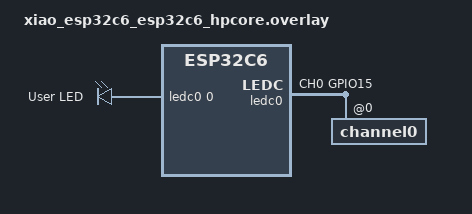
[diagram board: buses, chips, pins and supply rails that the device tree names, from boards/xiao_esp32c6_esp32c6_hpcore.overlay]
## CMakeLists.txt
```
# SPDX-License-Identifier: Apache-2.0
#
# XIAO ESP32-C6 BLE Web App. Out-of-tree Zephyr application
# (no west workspace, no sysbuild, no MCUboot: Espressif simple boot).

cmake_minimum_required(VERSION 3.20.0)

find_package(Zephyr REQUIRED HINTS $ENV{ZEPHYR_BASE})
project(c6_ble_led)

target_include_directories(app PRIVATE src)
target_sources(app PRIVATE
  src/main.c
  src/reset_reason.c
  src/duty_readback.c
  src/user_led.c
  src/selftest.c
  src/brightness.c
  src/watchdog.c
  src/heartbeat.c
  src/heartbeat_link.c
  src/ble.c
  src/led_command.c
  src/led_shell.c
  src/link_filter.c
  src/nus_chunk.c
  src/shell_nus.c
)
target_sources_ifdef(CONFIG_C6_HANG_CMD app PRIVATE src/debug_hang.c)
target_sources_ifdef(CONFIG_C6_HEAP_REPORT app PRIVATE src/debug_heap.c)
```

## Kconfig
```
# SPDX-License-Identifier: Apache-2.0

mainmenu "XIAO ESP32-C6 BLE Web App"

config C6_BOOT_MARKER_DELAY_MS
	int "Delay before the first Marker, ms"
	default 2000
	help
	  The USB-Serial/JTAG console drops bytes while no host reads the port,
	  and a host that resets the board needs a moment to (re)open it. The
	  firmware waits this long before printing "[BOOT] reason=" so a capture
	  started right after a reset or a flash sees the first Marker.

config C6_HANG_CMD
	bool "Debug: the debug hang serial-shell command"
	default n
	depends on SHELL
	help
	  Adds "debug hang" (src/debug_hang.c): the main loop stops feeding
	  the watchdog, so the board must reset within the watchdog window and
	  the next boot report "[BOOT] reason=watchdog". Enabled by debug.conf
	  in a separate build directory; never in the production image.

config C6_HEAP_REPORT
	bool "Debug: print the kernel heap statistics every 5 s"
	default n
	select SYS_HEAP_RUNTIME_STATS
	help
	  Adds src/debug_heap.c. Enabled by analyze.conf (with the thread
	  analyzer) in a build directory of its own; never in the production
	  image.

source "Kconfig.zephyr"
```

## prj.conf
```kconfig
# Production configuration. Every value raised from its default carries a
# one-line reason.

# Console and Markers
CONFIG_PRINTK=y
# Markers are printed with printk: synchronous, unlike the deferred log path
CONFIG_CONSOLE=y
CONFIG_UART_CONSOLE=y
CONFIG_BOOT_BANNER=n
# the Zephyr boot banner is noise before the [BOOT] marker

# Reset reason
CONFIG_HWINFO=y

# Drivers used by the Self-test and the User LED
CONFIG_PWM=y
CONFIG_GPIO=y

# Diagnostics other than Markers go through the log subsystem
CONFIG_LOG=y
CONFIG_LOG_PRINTK=n
# default y routes printk into the deferred log thread: Markers must stay synchronous

# Watchdog: one task-watchdog channel (5 s), hardware watchdog as fallback
CONFIG_WATCHDOG=y
CONFIG_TASK_WDT=y
CONFIG_TASK_WDT_HW_FALLBACK=y
CONFIG_TASK_WDT_CHANNELS=2
# default 5; one channel is used (spec), 2 is the Kconfig range minimum
# CONFIG_TASK_WDT_MIN_TIMEOUT stays at its default 100 ms: the task watchdog's own
# timer feeds the hardware watchdog every 100 ms and the hardware window is that
# plus 20 ms, so an interrupts-off stretch or timer stall over about 120 ms resets
# the board (the 5 s window only governs the main loop's feed)
CONFIG_REBOOT=y
# already selected by TASK_WDT; explicit because the expiry callback calls sys_reboot()

# Bluetooth: peripheral only, one Connection, NUS service (ticket 06)
CONFIG_BT=y
CONFIG_BT_PERIPHERAL=y
CONFIG_BT_MAX_CONN=1
# spec: one Connection, so two pages never fight over the User LED
CONFIG_BT_ZEPHYR_NUS=y
# the Shell link (ADR-0001) rides on the upstream Nordic UART Service
CONFIG_BT_DEVICE_NAME="XIAO-C6-LED"
# the Web App and the Harness find the board by this name; ble.c prints the same string
CONFIG_BT_L2CAP_TX_MTU=247
CONFIG_BT_BUF_ACL_RX_SIZE=251
CONFIG_BT_BUF_ACL_TX_SIZE=251
# ATT MTU 247 (spec): L2CAP MTU 247 plus the 4-byte L2CAP header in each ACL buffer;
# defaults are 23 and 27

# Stack headroom with Bluetooth running (measured with the thread analyzer, see board-notes):
CONFIG_MAIN_STACK_SIZE=3072
# default 2048; bt_enable() runs on the main thread and peaked at 1632 bytes
CONFIG_LOG_PROCESS_THREAD_STACK_SIZE=2048
# default 768; the log thread peaked at 724 with the Bluetooth stack logging (94 %)

# Shells (ticket 07): the serial console shell and the Shell link's own instance (src/shell_nus.c)
CONFIG_SHELL=y
CONFIG_SHELL_BACKEND_SERIAL=y
CONFIG_SHELL_LOG_BACKEND=n
# neither shell is a log backend: diagnostics stay on the UART log backend, so Markers and
# <wrn>/<err> lines reach the console independently of a shell and never enter the Shell link
CONFIG_LOG_BACKEND_UART=y
CONFIG_SHELL_MSG_CMD_NOT_FOUND=y
# an unknown command prints "<cmd>: command not found" instead of nothing, so a typo on the
# serial shell is visible (default n once SHELL_BACKEND_SERIAL is set)
# Each shell instance runs a thread with the default CONFIG_SHELL_STACK_SIZE=2048; measured with
# the thread analyzer: shell_nus peaked at 1344 (65 %), shell_uart at 612 (29 %), see board-notes.
```

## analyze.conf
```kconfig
# Stack and heap headroom scenario (ticket 06). Merged with
#   C6_BUILD_DIR=build-analyze C6_EXTRA_CONF=analyze.conf ./build.sh build|flash
# in a build directory of its own, so the production build never carries it. The thread
# analyzer prints every thread's stack use to the console; debug_heap.c prints the kernel heap.
CONFIG_THREAD_ANALYZER=y
CONFIG_THREAD_ANALYZER_USE_PRINTK=y
CONFIG_THREAD_ANALYZER_AUTO=y
CONFIG_THREAD_ANALYZER_AUTO_INTERVAL=5
CONFIG_THREAD_NAME=y
# the analyzer prints thread names only with this
CONFIG_C6_HEAP_REPORT=y
```

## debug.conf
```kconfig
# Debug overlay (never part of the production image). Merged with
#   C6_BUILD_DIR=<dir> C6_EXTRA_CONF=debug.conf ./build.sh build|flash
# in a build directory of its own, so the production build never carries it.

# The serial shell carries the debug command. Production has the console shell since
# ticket 07 (prj.conf); these lines stay as harmless duplicates.
CONFIG_SHELL=y
CONFIG_SHELL_BACKEND_SERIAL=y
CONFIG_SHELL_LOG_BACKEND=n
# keep diagnostics on the UART log backend so Markers and <wrn>/<err> lines
# reach the console independently of the shell
CONFIG_LOG_BACKEND_UART=y

# "debug hang": the main loop stops feeding the watchdog (ticket 04)
CONFIG_C6_HANG_CMD=y
```

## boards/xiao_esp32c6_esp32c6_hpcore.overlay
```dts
/*
 * SPDX-License-Identifier: Apache-2.0
 *
 * User LED on GPIO15 driven by LEDC channel 0 / timer 0 at 20 kHz.
 * The LED is wired active-low: the polarity is declared here, not in C.
 * The pad keeps its input buffer enabled so the firmware can read the
 * level it actually drives (Duty readback).
 */

#include <zephyr/dt-bindings/pwm/pwm.h>

/ {
	aliases {
		user-led-pwm = &user_led_pwm;
	};

	pwmleds {
		compatible = "pwm-leds";

		user_led_pwm: user_led_pwm {
			pwms = <&ledc0 0 PWM_HZ(20000) PWM_POLARITY_INVERTED>;
			label = "User LED";
		};
	};
};

&pinctrl {
	ledc0_default: ledc0_default {
		group1 {
			pinmux = <LEDC_CH0_GPIO15>;
			/* Output is enabled by the LEDC signal itself. input-enable
			 * keeps pinctrl from disabling the pad's input buffer; the
			 * firmware turns it on through the GPIO driver (user_led.c).
			 */
			input-enable;
		};
	};
};

&ledc0 {
	pinctrl-0 = <&ledc0_default>;
	pinctrl-names = "default";
	status = "okay";
	#address-cells = <1>;
	#size-cells = <0>;

	channel0@0 {
		reg = <0x0>;
		timer = <0>;
	};
};
```

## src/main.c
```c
/* SPDX-License-Identifier: Apache-2.0 */
/*
 * Boot order (spec): Reset reason marker -> Self-test (a failure is
 * reported, not retried, the boot continues) -> Brightness 128 -> watchdog
 * armed -> Shell link started -> Bluetooth enabled and advertising. The main loop then feeds the
 * watchdog and emits the Heartbeats.
 */

#include <zephyr/kernel.h>
#include <zephyr/sys/printk.h>

#include "ble.h"
#include "brightness.h"
#include "debug_hang.h"
#include "heartbeat.h"
#include "heartbeat_link.h"
#include "reset_reason.h"
#include "selftest.h"
#include "shell_nus.h"
#include "user_led.h"
#include "watchdog.h"

int main(void)
{
	/* The USB-Serial/JTAG console drops bytes while nobody reads it: give
	 * the host time to (re)open the port after the reset.
	 */
	k_msleep(CONFIG_C6_BOOT_MARKER_DELAY_MS);
	/* Leading newline: keeps the marker on its own line if anything left a
	 * prompt or partial line on the console.
	 */
	printk("\n[BOOT] reason=%s\n", reset_reason_string());

	printk("[STAGE] selftest: start\n");
	/* If the PWM or pad is not ready, user_led_init() logs why and the
	 * Self-test then fails at step 0: reported, boot continues.
	 */
	(void)user_led_init();
	(void)selftest_run();

	/* A failure is logged inside; no [LED] marker then, which the Harness reports. */
	(void)brightness_set(BRIGHTNESS_BOOT);

	/* Armed last: the Self-test sweep runs before it, so its length never counts
	 * against the window. A failure is logged inside; the board then runs unguarded.
	 */
	(void)watchdog_arm();

	/* The Shell link's shell thread before Bluetooth, so a command written by the first Central
	 * finds it running. A failure is reported inside; the serial shell still works.
	 */
	(void)shell_nus_start();

	/* Bluetooth after the watchdog (spec boot order). A failure is reported inside; the
	 * board then runs without a radio.
	 */
	(void)ble_start();

	/* The main loop is the only feeder (spec) and the one that emits Heartbeats. It sleeps until
	 * the next Heartbeat is due, never longer than one period (1 s) against the 5 s window; the
	 * Harness expects a bite 4 to 5 s after the hang, so nothing here may wait for anything
	 * else: the Heartbeat line is only queued for the sender thread (heartbeat_link.c), which is
	 * the one that can block on a stalled link.
	 */
	struct heartbeat hb;
	uint32_t dropped_total = 0;

	heartbeat_boot(&hb, (uint64_t)k_uptime_get());
	while (1) {
		uint64_t now = (uint64_t)k_uptime_get();
		uint32_t seq;

		if (debug_hang_requested()) {
			/* Debug image only: stop feeding for good; the watchdog must reset the board.
			 * Leading newline: the shell prompt may be on the line.
			 */
			printk("\n[DBG] hang: main loop stops feeding\n");
			k_sleep(K_FOREVER);
		}
		/* seq counts from boot whether or not a Central listens; the sender drops the line
		 * when nobody is subscribed.
		 */
		if (heartbeat_due(&hb, now, &seq)) {
			int dropped = heartbeat_link_post(seq);

			if (dropped > 0) {
				dropped_total += (uint32_t)dropped;
				/* a stalled link drops one a second: report the 1st, 2nd, 4th, 8th ... */
				if ((dropped_total & (dropped_total - 1U)) == 0U) {
					printk("\n[HB] link stalled: %u stale heartbeat(s) dropped\n",
					       dropped_total);
				}
			}
			if (heartbeat_marker_due(seq)) {
				printk("\n[HB] seq=%u\n", seq);
			}
		}
		watchdog_feed();
		k_msleep(MAX(1U, MIN(heartbeat_wait_ms(&hb, (uint64_t)k_uptime_get()),
				     HEARTBEAT_PERIOD_MS)));
	}
	return 0;
}
```

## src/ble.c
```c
/* SPDX-License-Identifier: Apache-2.0 */

#include "ble.h"

#include <zephyr/bluetooth/bluetooth.h>
#include <zephyr/bluetooth/conn.h>
#include <zephyr/bluetooth/gatt.h>
#include <zephyr/bluetooth/services/nus.h>
#include <zephyr/kernel.h>
#include <zephyr/logging/log.h>
#include <zephyr/sys/printk.h>

LOG_MODULE_REGISTER(ble, LOG_LEVEL_INF);

#define DEVICE_NAME     CONFIG_BT_DEVICE_NAME
#define DEVICE_NAME_LEN (sizeof(DEVICE_NAME) - 1)

/* The name goes in the advertising data, the 128-bit NUS UUID in the scan response
 * (both together do not fit the 31 bytes of one PDU). A Central that scans actively
 * (the Harness, Chrome) sees both.
 */
static const struct bt_data ad[] = {
	BT_DATA_BYTES(BT_DATA_FLAGS, (BT_LE_AD_GENERAL | BT_LE_AD_NO_BREDR)),
	BT_DATA(BT_DATA_NAME_COMPLETE, DEVICE_NAME, DEVICE_NAME_LEN),
};

static const struct bt_data sd[] = {
	BT_DATA_BYTES(BT_DATA_UUID128_ALL, BT_UUID_NUS_SRV_VAL),
};

/* A failed bt_le_adv_start() after a connection object was allocated makes the stack drop that
 * object, which fires "recycled" again and so calls advertise() again: a persistent failure would
 * loop without end on the system workqueue. Give up after this many failures in a row.
 */
#define ADV_FAILURES_MAX 5

static int adv_failures;

static int advertise(void)
{
	int err = bt_le_adv_start(BT_LE_ADV_CONN_FAST_1, ad, ARRAY_SIZE(ad), sd, ARRAY_SIZE(sd));

	if (err) {
		adv_failures++;
		LOG_ERR("advertising failed to start (err %d, %d in a row)", err, adv_failures);
		printk("\n[BLE] advertising failed err=%d\n", err);
		return err;
	}
	adv_failures = 0;
	printk("\n[BLE] advertising name=%s\n", DEVICE_NAME);
	return 0;
}

/* Ask the Central for a 4 s supervision timeout (interval 30 to 50 ms, no latency): BlueZ's
 * default is 420 ms, which a PC adapter that scans while connected can miss. For a peripheral the
 * call only stores the request; the stack sends it after CONFIG_BT_CONN_PARAM_UPDATE_TIMEOUT
 * (5 s) and the Central may refuse it, so the log in on_params_updated() shows what took effect.
 */
static const struct bt_le_conn_param conn_params = BT_LE_CONN_PARAM_INIT(24, 40, 0, 400);

static void on_connected(struct bt_conn *conn, uint8_t err)
{
	if (err) {
		/* No Connection exists; the stack recycles the object, which restarts advertising. */
		LOG_WRN("connection failed (HCI err 0x%02x)", err);
		return;
	}
	printk("\n[BLE] connected\n");

	err = bt_conn_le_param_update(conn, &conn_params);
	if (err) {
		LOG_WRN("connection parameter request rejected (err %d)", err);
	}
}

static void on_disconnected(struct bt_conn *conn, uint8_t reason)
{
	ARG_UNUSED(conn);

	printk("\n[BLE] disconnected reason=0x%02x\n", reason);
}

/* Advertising restarts here, not in on_disconnected(): with CONFIG_BT_MAX_CONN=1 the
 * connection object is still in use there and bt_le_adv_start() would fail with -ENOMEM.
 * "Recycled" fires once it is free again, also after a connection that failed to open.
 */
static void on_recycled(void)
{
	if (adv_failures >= ADV_FAILURES_MAX) {
		return;
	}
	(void)advertise();
}

static void on_params_updated(struct bt_conn *conn, uint16_t interval, uint16_t latency,
			      uint16_t timeout)
{
	ARG_UNUSED(conn);

	/* Units: interval 1.25 ms, timeout 10 ms. Diagnostics only, not a Marker. */
	LOG_INF("connection parameters: interval=%u latency=%u timeout=%u", interval, latency,
		timeout);
}

BT_CONN_CB_DEFINE(conn_cbs) = {
	.le_param_updated = on_params_updated,
	.connected = on_connected,
	.disconnected = on_disconnected,
	.recycled = on_recycled,
};

static void on_mtu_updated(struct bt_conn *conn, uint16_t tx, uint16_t rx)
{
	ARG_UNUSED(conn);

	/* The ATT MTU in force is the smaller of the two directions (equal after an exchange). */
	printk("\n[BLE] mtu=%u\n", MIN(tx, rx));
}

static struct bt_gatt_cb gatt_cbs = {
	.att_mtu_updated = on_mtu_updated,
};

int ble_start(void)
{
	int err;

	bt_gatt_cb_register(&gatt_cbs);
	err = bt_enable(NULL);
	if (err) {
		LOG_ERR("bluetooth enable failed (err %d)", err);
		printk("\n[BLE] start failed err=%d\n", err);
		return err;
	}
	return advertise();
}
```

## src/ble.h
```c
/* SPDX-License-Identifier: Apache-2.0 */
#ifndef BLE_H
#define BLE_H

/*
 * Bluetooth peripheral: enables the stack, advertises as CONFIG_BT_DEVICE_NAME with the
 * Nordic UART Service UUID, accepts one Connection, stops advertising while it exists and
 * advertises again once it has ended. Markers (spec, grepped by the Harness):
 *
 *   [BLE] advertising name=<name>     advertising started (boot, and after every Connection)
 *   [BLE] advertising failed err=<n>  bt_le_adv_start() failed (retried after a Connection ends,
 *                                     at most 5 failures in a row)
 *   [BLE] start failed err=<n>        bt_enable() failed
 *   [BLE] connected                   a Connection was established
 *   [BLE] mtu=<n>                     the ATT MTU changed (negotiated by the Central)
 *   [BLE] disconnected reason=0x<rr>  the Connection ended (HCI reason)
 */

/* Call once, after the watchdog is armed. 0, or the error of bt_enable() / the first
 * bt_le_adv_start() with the reason logged and a marker; the board then runs without Bluetooth.
 */
int ble_start(void);

#endif /* BLE_H */
```

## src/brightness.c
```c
/* SPDX-License-Identifier: Apache-2.0 */

#include "brightness.h"
#include "user_led.h"

#include <zephyr/kernel.h>
#include <zephyr/logging/log.h>
#include <zephyr/sys/atomic.h>

LOG_MODULE_REGISTER(brightness, CONFIG_LOG_DEFAULT_LEVEL);

static atomic_t current; /* 0 until the first brightness_set() */

/* set, settle, readback and the remembered value are one step: a second
 * caller (the shell thread, later) must not run its readback over the
 * shared sample buffer or interleave its set. Held for about 5 ms.
 */
static K_MUTEX_DEFINE(apply_lock);
#define APPLY_LOCK_WAIT K_MSEC(500)

int brightness_set(uint8_t brightness)
{
	struct duty_readback rb;
	int ret;

	ret = k_mutex_lock(&apply_lock, APPLY_LOCK_WAIT);
	if (ret < 0) {
		LOG_ERR("brightness %u: apply lock busy: %d", brightness, ret);
		return ret;
	}

	ret = user_led_set(brightness);
	if (ret < 0) {
		LOG_ERR("user_led_set(%u): %d", brightness, ret);
		k_mutex_unlock(&apply_lock);
		return ret;
	}

	/* The readback samples the pad for ~2 ms in this thread: short enough
	 * for the watchdog window (5 s) and the Heartbeat cadence (1 s).
	 */
	k_msleep(USER_LED_SETTLE_MS);
	ret = user_led_readback(&rb);
	if (ret < 0) {
		LOG_WRN("readback after brightness %u: %d", brightness, ret);
	}
	user_led_print_marker(brightness, &rb);

	atomic_set(&current, brightness);
	k_mutex_unlock(&apply_lock);
	return 0;
}

uint8_t brightness_get(void)
{
	return (uint8_t)atomic_get(&current);
}
```

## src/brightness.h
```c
/* SPDX-License-Identifier: Apache-2.0 */
#ifndef BRIGHTNESS_H
#define BRIGHTNESS_H

#include <stdint.h>

/*
 * Brightness (glue): the User LED level 0..255, 128 at boot after the
 * Self-test, kept in RAM only (never persisted, unchanged by a disconnect).
 *
 * brightness_set() applies a value to the User LED immediately with no ramp,
 * takes the Duty readback and prints the Serial marker
 * "[LED] brightness=<n> duty=<pct>% freq=<hz>". Every applied Brightness
 * goes through it. Returns 0, or -errno when the LED could not be driven
 * (the remembered Brightness is then unchanged and no marker is printed).
 * A failed readback still applies the value and prints the marker.
 */
int brightness_set(uint8_t brightness);

/* The Brightness last applied by brightness_set(); 0 until the first call. */
uint8_t brightness_get(void);

/* Level the boot ends at (spec: Brightness rules). */
#define BRIGHTNESS_BOOT 128

#endif /* BRIGHTNESS_H */
```

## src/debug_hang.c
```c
/* SPDX-License-Identifier: Apache-2.0 */

#include "debug_hang.h"

#include <zephyr/kernel.h>
#include <zephyr/sys/printk.h>
#include <zephyr/shell/shell.h>
#include <zephyr/sys/atomic.h>

static atomic_t requested;

bool debug_hang_requested(void)
{
	return atomic_get(&requested) != 0;
}

static int cmd_hang(const struct shell *sh, size_t argc, char **argv)
{
	ARG_UNUSED(argc);
	ARG_UNUSED(argv);

	atomic_set(&requested, 1);
	shell_print(sh, "hang requested: the main loop stops feeding at its next period");
	return 0;
}

static atomic_t stall_requested;

/* Called by the Heartbeat sender thread with a line in hand, before it sends. */
void debug_hb_stall_point(void)
{
	if (atomic_get(&stall_requested) != 0) {
		printk("\n[DBG] stall: heartbeat sender stops\n");
		k_sleep(K_FOREVER);
	}
}

static int cmd_stall(const struct shell *sh, size_t argc, char **argv)
{
	ARG_UNUSED(argc);
	ARG_UNUSED(argv);

	atomic_set(&stall_requested, 1);
	shell_print(sh, "stall requested: the Heartbeat sender stops at its next line");
	return 0;
}

SHELL_STATIC_SUBCMD_SET_CREATE(debug_cmds,
	SHELL_CMD_ARG(hang, NULL, "Stop the main loop feeding the watchdog (debug image only)",
		      cmd_hang, 1, 0),
	SHELL_CMD_ARG(stall, NULL, "Stop the Heartbeat sender thread (debug image only)",
		      cmd_stall, 1, 0),
	SHELL_SUBCMD_SET_END);
SHELL_CMD_REGISTER(debug, &debug_cmds, "Debug-only commands", NULL);
```

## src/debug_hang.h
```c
/* SPDX-License-Identifier: Apache-2.0 */
#ifndef DEBUG_HANG_H
#define DEBUG_HANG_H

#include <stdbool.h>
#include <zephyr/sys/util.h>

/*
 * Debug-only watchdog bite proof (CONFIG_C6_HANG_CMD, enabled by debug.conf,
 * never in the production image). The serial-shell command "debug hang" sets
 * a request; the main loop polls it once per period and, when set, stops
 * feeding the watchdog for good, so the board must reset within the window.
 * In the production image the request is a constant false and the compiler
 * removes the branch.
 */
#ifdef CONFIG_C6_HANG_CMD
bool debug_hang_requested(void);
#else
static inline bool debug_hang_requested(void)
{
	return false;
}
#endif

/*
 * Debug-only Heartbeat stall proof (same option, ticket 09). "debug stall" makes the Heartbeat
 * sender thread stop for good inside shell_nus_notify(), holding the TX lock as a bt_nus_send()
 * stuck on a stalled link would; the main loop must then keep feeding the watchdog and printing "[HB] seq=N". In the
 * production image the stall point is empty.
 */
#ifdef CONFIG_C6_HANG_CMD
void debug_hb_stall_point(void);
#else
static inline void debug_hb_stall_point(void)
{
}
#endif

#endif /* DEBUG_HANG_H */
```

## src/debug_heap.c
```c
/* SPDX-License-Identifier: Apache-2.0 */

/*
 * Debug-only heap report (CONFIG_C6_HEAP_REPORT, enabled by analyze.conf in a build directory of
 * its own, never in the production image): every few seconds it prints the kernel heap (the pool
 * the Bluetooth driver allocates from) as "[DBG] heap ...", next to the thread analyzer's stack
 * report, so the headroom with Bluetooth running can be read from the console.
 */

#include <zephyr/kernel.h>
#include <zephyr/sys/printk.h>
#include <zephyr/sys/sys_heap.h>

#define REPORT_PERIOD_MS 5000

/* Private kernel symbol (kernel/mempool.c, no public header): re-check it when Zephyr is bumped.
 * Acceptable here because this file is debug-only.
 */
extern struct k_heap _system_heap;

static void report(struct k_work *work);
static K_WORK_DELAYABLE_DEFINE(report_work, report);

static void report(struct k_work *work)
{
	struct sys_memory_stats stats;

	ARG_UNUSED(work);
	if (sys_heap_runtime_stats_get(&_system_heap.heap, &stats) == 0) {
		/* size = free + allocated: the usable heap, not the requested K_HEAP_MEM_POOL_SIZE */
		printk("\n[DBG] heap size=%zu free=%zu allocated=%zu max_allocated=%zu\n",
		       stats.free_bytes + stats.allocated_bytes, stats.free_bytes,
		       stats.allocated_bytes, stats.max_allocated_bytes);
	}
	(void)k_work_reschedule(&report_work, K_MSEC(REPORT_PERIOD_MS));
}

static int start_report(void)
{
	(void)k_work_reschedule(&report_work, K_MSEC(REPORT_PERIOD_MS));
	return 0;
}

/* Priority 90: late in the APPLICATION level, after every driver and service has initialised */
SYS_INIT(start_report, APPLICATION, 90);
```

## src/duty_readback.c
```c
/* SPDX-License-Identifier: Apache-2.0 */

#include "duty_readback.h"

#include <string.h>

void duty_readback_compute(const uint8_t *levels, size_t count,
			   uint32_t elapsed_cycles, uint32_t cycles_per_sec,
			   struct duty_readback *out)
{
	memset(out, 0, sizeof(*out));

	if (levels == NULL || count == 0) {
		return;
	}

	uint32_t low = 0;
	uint32_t edges = 0;
	uint8_t prev = levels[0] ? 1 : 0;
	/* Whole periods: from the first edge to the last edge into the same level (first_edge ..
	 * last_edge, at least one period apart). low_in_span counts the low samples between them.
	 */
	uint8_t span_level = 0;
	size_t first_edge = 0;
	size_t last_edge = 0;
	uint32_t same_edges = 0;
	uint32_t low_before_first = 0;
	uint32_t low_before_last = 0;

	for (size_t i = 0; i < count; i++) {
		uint8_t cur = levels[i] ? 1 : 0;

		if (cur != prev) {
			if (edges == 0) {
				span_level = cur;
			}
			if (cur == span_level) {
				if (same_edges == 0) {
					first_edge = i;
					low_before_first = low;
				}
				last_edge = i;
				low_before_last = low;
				same_edges++;
			}
		}
		low += (cur == 0);
		edges += (cur != prev);
		prev = cur;
	}

	out->samples = (uint32_t)count;
	out->low_samples = low;
	out->edges = edges;
	out->low_permille = (uint32_t)(((uint64_t)low * 1000U + count / 2) / count);
	if (same_edges >= 2) {
		/* The window holds a fractional number of periods; the partial ones at both ends would
		 * skew a plain count by up to one period in the number of periods captured.
		 */
		uint32_t span = (uint32_t)(last_edge - first_edge);
		uint32_t span_low = low_before_last - low_before_first;

		out->low_permille = (uint32_t)(((uint64_t)span_low * 1000U + span / 2) / span);
	}

	if (elapsed_cycles != 0 && cycles_per_sec != 0) {
		/* One period contains two edges. */
		out->freq_hz = (uint32_t)(((uint64_t)edges * cycles_per_sec) /
					  ((uint64_t)elapsed_cycles * 2U));
	}
}
```

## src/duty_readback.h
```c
/* SPDX-License-Identifier: Apache-2.0 */
/*
 * Duty readback arithmetic: pure C, no Zephyr dependency, so it runs in a
 * host unit test (native_sim, tests/duty_readback) unchanged.
 *
 * Input: a level-per-sample array captured at an approximately uniform rate
 * over a known elapsed time. Output: the fraction of samples that were low
 * and the edge frequency, i.e. how often the level toggled per second.
 */

#ifndef DUTY_READBACK_H
#define DUTY_READBACK_H

#include <stdint.h>
#include <stddef.h>

struct duty_readback {
	uint32_t samples;      /* samples evaluated */
	uint32_t low_samples;  /* samples whose level was 0 */
	uint32_t edges;        /* level changes between consecutive samples */
	uint32_t low_permille; /* low fraction in 0.1 % steps, over whole periods when the window
				* holds at least one (else low_samples / samples) */
	uint32_t freq_hz;      /* edges / 2 / elapsed; 0 when no edge or no time */
};

/*
 * levels[i] is 0 (low) or non-zero (high). elapsed_cycles is the time the
 * count samples took, in units of cycles_per_sec. Any zero input yields a
 * zeroed result rather than a division error.
 */
void duty_readback_compute(const uint8_t *levels, size_t count,
			   uint32_t elapsed_cycles, uint32_t cycles_per_sec,
			   struct duty_readback *out);

#endif /* DUTY_READBACK_H */
```

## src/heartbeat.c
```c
/* SPDX-License-Identifier: Apache-2.0 */

#include "heartbeat.h"

#include <stdio.h>

void heartbeat_boot(struct heartbeat *hb, uint64_t now_ms)
{
	hb->seq = 0;
	hb->due_ms = now_ms;
}

bool heartbeat_due(struct heartbeat *hb, uint64_t now_ms, uint32_t *seq)
{
	uint64_t missed; /* whole periods passed beyond the due one */

	if (now_ms < hb->due_ms) {
		return false;
	}
	/* Periods already passed beyond the due one are consumed: seq keeps pace with time and the
	 * caller sends once per pass.
	 */
	missed = (now_ms - hb->due_ms) / HEARTBEAT_PERIOD_MS;
	*seq = hb->seq + (uint32_t)missed; /* unsigned: wraps, never goes negative */
	hb->seq = *seq + 1U;
	hb->due_ms += (missed + 1U) * HEARTBEAT_PERIOD_MS;
	return true;
}

uint32_t heartbeat_wait_ms(const struct heartbeat *hb, uint64_t now_ms)
{
	return now_ms >= hb->due_ms ? 0U : (uint32_t)(hb->due_ms - now_ms);
}

bool heartbeat_marker_due(uint32_t seq)
{
	return (seq % HEARTBEAT_MARKER_EVERY) == 0U;
}

int heartbeat_encode(char *buf, size_t len, uint32_t seq, uint64_t uptime_ms)
{
	/* Unsigned conversions only: no value ever prints with a sign. */
	int n = snprintf(buf, len, "{\"seq\":%u,\"uptime_ms\":%llu}\n", (unsigned int)seq,
			 (unsigned long long)uptime_ms);

	if (n < 0 || (size_t)n >= len) {
		return -1;
	}
	return n;
}
```

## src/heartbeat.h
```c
/* SPDX-License-Identifier: Apache-2.0 */
#ifndef HEARTBEAT_H
#define HEARTBEAT_H

/*
 * Heartbeat (CONTEXT.md): the line {"seq":N,"uptime_ms":N} the board sends about once a second
 * over the Shell link while a Central listens. This module owns the wire contract shared with
 * the Web App and the Harness (the exact line) and the counter's rules:
 *
 * - `seq` is 0 at boot and advances once per second from boot whether or not a Central
 *   listens, so a gap in the numbers a Central sees marks a disconnect and a smaller number
 *   marks a reboot; only a boot resets it;
 * - a period the caller missed (it was busy longer than a second) is consumed, not queued:
 *   `seq` keeps pace with time and at most one Heartbeat is due per poll.
 *
 * Pure C, no Zephyr dependency: the same code runs on the board and in the native_sim host
 * suite (tests/heartbeat).
 */

#include <stdbool.h>
#include <stddef.h>
#include <stdint.h>

#define HEARTBEAT_PERIOD_MS 1000U
#define HEARTBEAT_MARKER_EVERY 10U /* "[HB] seq=N" on every tenth Heartbeat */
/* Longest line: {"seq":4294967295,"uptime_ms":18446744073709551615} + "\n" + NUL */
#define HEARTBEAT_LINE_MAX 53U

struct heartbeat {
	uint32_t seq;    /* the number of the next Heartbeat */
	uint64_t due_ms; /* uptime at which it is due */
};

/* Boot event: seq 0, the first Heartbeat due at `now_ms`. */
void heartbeat_boot(struct heartbeat *hb, uint64_t now_ms);

/* Poll from the loop. Returns true when a Heartbeat is due and stores its number in *seq; the
 * counter then advances one for that period and one for every further period `now_ms` has
 * already passed.
 */
bool heartbeat_due(struct heartbeat *hb, uint64_t now_ms, uint32_t *seq);

/* Milliseconds from `now_ms` until the next Heartbeat is due; 0 when it is due now. */
uint32_t heartbeat_wait_ms(const struct heartbeat *hb, uint64_t now_ms);

/* True when the serial console prints "[HB] seq=N" for this Heartbeat (every tenth). */
bool heartbeat_marker_due(uint32_t seq);

/* Encode the wire line {"seq":N,"uptime_ms":N}\n into buf (NUL-terminated). Returns the length
 * without the NUL, or -1 when buf is too small.
 */
int heartbeat_encode(char *buf, size_t len, uint32_t seq, uint64_t uptime_ms);

#endif /* HEARTBEAT_H */
```

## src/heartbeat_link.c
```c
/* SPDX-License-Identifier: Apache-2.0 */

#include "heartbeat_link.h"

#include "heartbeat.h"
#include "shell_nus.h"

#include <zephyr/kernel.h>
#include <zephyr/logging/log.h>

LOG_MODULE_REGISTER(heartbeat_link, LOG_LEVEL_INF);

/* Stack: the same 2048 as the shell threads, which run the same bt_nus_send() path. Measured with
 * the thread analyzer over a Connection that received Heartbeats: 640 of 2048 (board-notes,
 * Ticket 09); kept at 2048 for the notification path at the smallest MTU.
 */
#define SENDER_STACK_SIZE 2048
/* Preemptible priority 10: below the main thread (0), the Bluetooth threads (-1 to 8) and the
 * controller task (2), so the sender may sit in bt_nus_send() without holding any of them up;
 * above the shell threads (lowest application priority), so a slow shell command does not delay
 * a Heartbeat's uptime_ms.
 */
#define SENDER_PRIORITY K_PRIO_PREEMPT(10)

K_MSGQ_DEFINE(hb_queue, sizeof(uint32_t), HEARTBEAT_LINK_DEPTH, 4);

int heartbeat_link_post(uint32_t seq)
{
	uint32_t line = seq;
	uint32_t stale;
	int dropped = 0;

	/* Never wait (K_NO_WAIT): the caller feeds the watchdog. The sender is the only consumer,
	 * so at most one round of "make room" is needed; a second failure gives up the new line.
	 */
	if (k_msgq_put(&hb_queue, &line, K_NO_WAIT) != 0) {
		if (k_msgq_get(&hb_queue, &stale, K_NO_WAIT) == 0) {
			dropped = 1;
		}
		(void)k_msgq_put(&hb_queue, &line, K_NO_WAIT);
	}
	return dropped;
}

static void sender_entry(void *p1, void *p2, void *p3)
{
	char text[HEARTBEAT_LINE_MAX];
	uint32_t seq;
	int n;
	int err;

	ARG_UNUSED(p1);
	ARG_UNUSED(p2);
	ARG_UNUSED(p3);

	while (1) {
		(void)k_msgq_get(&hb_queue, &seq, K_FOREVER);
		n = heartbeat_encode(text, sizeof(text), seq, (uint64_t)k_uptime_get());
		if (n < 0) {
			continue; /* cannot happen: HEARTBEAT_LINE_MAX holds the longest line */
		}
		/* -ENOTCONN: nobody is connected and subscribed; the Heartbeat is not sent then. */
		err = shell_nus_notify((const uint8_t *)text, (size_t)n);
		if (err && err != -ENOTCONN) {
			LOG_WRN("heartbeat not sent (err %d)", err);
		}
	}
}

K_THREAD_DEFINE(heartbeat_sender, SENDER_STACK_SIZE, sender_entry, NULL, NULL, NULL,
		SENDER_PRIORITY, 0, 0);
```
